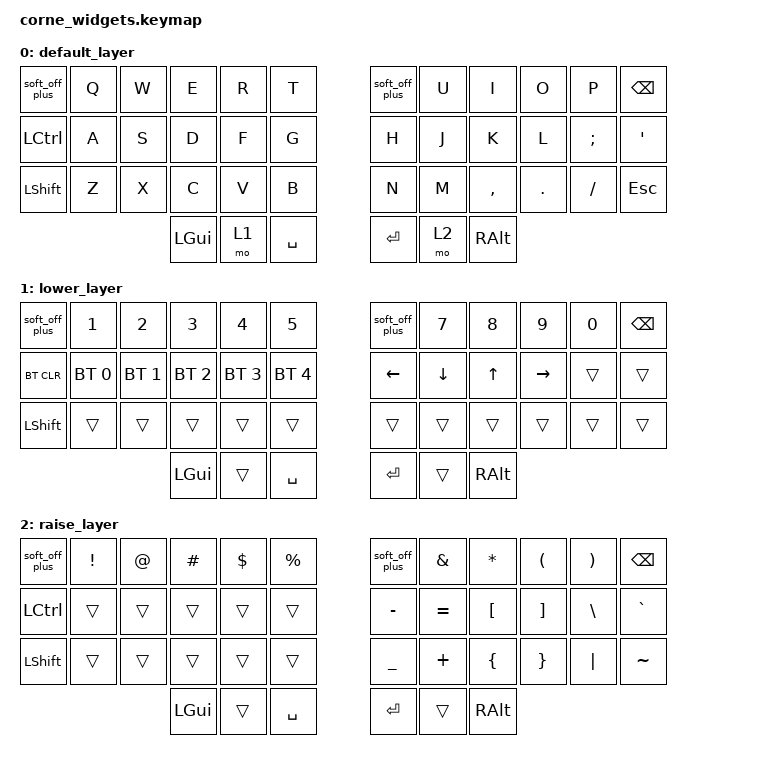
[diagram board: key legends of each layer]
/*
 * Copyright (c) 2020 The ZMK Contributors
 *
 * SPDX-License-Identifier: MIT
 */

#include <behaviors.dtsi>
#include <dt-bindings/zmk/keys.h>
#include <dt-bindings/zmk/bt.h>

/* Local matrix (0,0) on each half is a dedicated soft-off key on every layer:
 * left RC(0,0), right RC(0,6) after the right-half column offset. Hold it for
 * ~1.2s and release to power off both halves. Hold the same key to wake each
 * half; a half connected to USB bypasses the wake hold. */

/ {
        keymap {
                compatible = "zmk,keymap";

                default_layer {
// -----------------------------------------------------------------------------------------
// | PWR  |  Q  |  W  |  E  |  R  |  T  |   | PWR |  U   |  I  |  O  |  P  | BSPC |
// | CTRL |  A  |  S  |  D  |  F  |  G  |   |  H  |  J   |  K  |  L  |  ;  |  '   |
// | SHFT |  Z  |  X  |  C  |  V  |  B  |   |  N  |  M   |  ,  |  .  |  /  | ESC  |
//                    | GUI | LWR | SPC |   | ENT | RSE  | ALT |
                        bindings = <
   &soft_off_plus &kp Q &kp W &kp E &kp R &kp T   &soft_off_plus &kp U &kp I &kp O &kp P &kp BSPC
   &kp LCTRL &kp A &kp S &kp D &kp F &kp G   &kp H &kp J  &kp K     &kp L   &kp SEMI &kp SQT
   &kp LSHFT &kp Z &kp X &kp C &kp V &kp B   &kp N &kp M  &kp COMMA &kp DOT &kp FSLH &kp ESC
                  &kp LGUI &mo 1 &kp SPACE   &kp RET &mo 2 &kp RALT
                        >;
                };
                lower_layer {
// -----------------------------------------------------------------------------------------
// | PWR  |  1  |  2  |  3  |  4  |  5  |   | PWR |  7  |  8  |  9  |  0  | BSPC |
// | BTCLR| BT1 | BT2 | BT3 | BT4 | BT5 |   | LFT | DWN |  UP | RGT |     |      |
// | SHFT |     |     |     |     |     |   |     |     |     |     |     |      |
//                    | GUI |     | SPC |   | ENT |     | ALT |
                        bindings = <
   &soft_off_plus &kp N1   &kp N2       &kp N3       &kp N4       &kp N5         &soft_off_plus &kp N7 &kp N8 &kp N9 &kp N0 &kp BSPC
   &bt BT_CLR &bt BT_SEL 0 &bt BT_SEL 1 &bt BT_SEL 2 &bt BT_SEL 3 &bt BT_SEL 4   &kp LEFT &kp DOWN &kp UP &kp RIGHT &trans &trans
   &kp LSHFT  &trans       &trans       &trans       &trans       &trans         &trans   &trans   &trans &trans    &trans &trans
                                    &kp LGUI     &trans       &kp SPACE      &kp RET  &trans   &kp RALT
                        >;
                };

                raise_layer {
// -----------------------------------------------------------------------------------------
// | PWR  |  !  |  @  |  #  |  $  |  %  |   | PWR |  &  |  *  |  (  |  )  | BSPC |
// | CTRL |     |     |     |     |     |   |  -  |  =  |  [  |  ]  |  \  |  `   |
// | SHFT |     |     |     |     |     |   |  _  |  +  |  {  |  }  | "|" |  ~   |
//                    | GUI |     | SPC |   | ENT |     | ALT |
                        bindings = <
   &soft_off_plus &kp EXCL &kp AT &kp HASH &kp DLLR &kp PRCNT   &soft_off_plus &kp AMPS &kp ASTRK &kp LPAR &kp RPAR &kp BSPC
   &kp LCTRL &trans   &trans &trans   &trans   &trans      &kp MINUS &kp EQUAL &kp LBKT  &kp RBKT &kp BSLH &kp GRAVE
   &kp LSHFT &trans   &trans &trans   &trans   &trans      &kp UNDER &kp PLUS  &kp LBRC  &kp RBRC &kp PIPE &kp TILDE
                             &kp LGUI &trans   &kp SPACE   &kp RET   &trans    &kp RALT
                        >;
                };
        };
};
